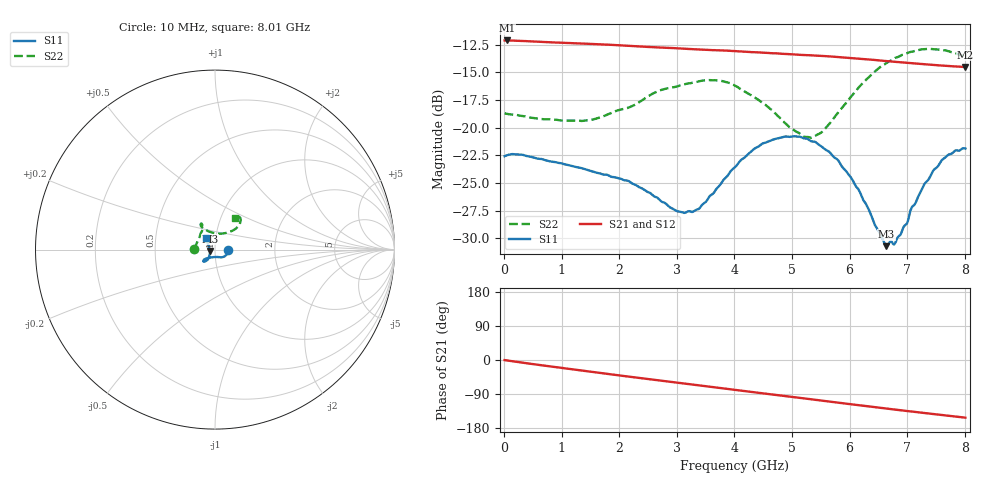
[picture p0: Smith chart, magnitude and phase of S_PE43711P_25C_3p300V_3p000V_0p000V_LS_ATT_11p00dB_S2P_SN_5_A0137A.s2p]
! Device ID: PE43711P
! File Path: z:\PE43711P\CHAR_NOM_04282014\AMB\3p300\LS_ATT_11p00dB\PE43711P_AMB_3p300V_3p000V_0p000V_LS_ATT_11p00dB_S2P_SN_5_A0137A.s2p
! Serial: 5
! Lot: A0137A
! Temp: 25C
! VDD: 3.300
! VSS: 0.000
! Control_Hi: 3.000
! Control_Lo: 0.000
! Attenuation Step: 11.00dB
! Port 1: RF1
! Port 2: RF2
! ThroughPath:1-2
! IDD: 0.0001279692
! ISS: -8.47e-008
#  Hz  S  RI  R  50
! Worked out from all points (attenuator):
!   801 points, 10 MHz to 8.01 GHz, reference 50 ohm
!   highest |S21| = -12.12 dB at 50 MHz (marker M1); lowest = -14.5 dB at 8.01 GHz (marker M2)
!   lowest |S11| = -30.7 dB at 6.64 GHz (marker M3), VSWR 1.06, Z = 47.3 - j0.756 ohm
!   |S11| at or under -10 dB: start of sweep to end of sweep
!   |S22| runs from -20.9 to -12.9 dB; largest |S21 - S12| = 0.0006
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1e7  0.0744 -8.52e-05  0.2476 -0.00124  0.2479 -0.00132  -0.1163 0.000897
5e7  0.0751 -0.00125  0.2476 -0.00497  0.2478 -0.00494  -0.1155 0.00291
1.35e9  0.0537 -0.0377  0.2122 -0.112  0.2124 -0.1121  -0.0938 0.052
2.15e9  0.0376 -0.0436  0.1698 -0.1616  0.1699 -0.1617  -0.076 0.0967
2.68e9  0.0233 -0.0418  0.1365 -0.1855  0.1365 -0.1856  -0.0708 0.1284
3.01e9  0.00932 -0.0409  0.1142 -0.1977  0.1143 -0.1977  -0.0709 0.1363
3.3e9  -0.00536 -0.0417  0.0939 -0.2056  0.094 -0.2057  -0.0732 0.1429
3.69e9  -0.0284 -0.0448  0.0664 -0.2135  0.0664 -0.2135  -0.0787 0.1434
4.01e9  -0.0455 -0.0483  0.0429 -0.2174  0.0428 -0.2176  -0.0792 0.133
4.34e9  -0.059 -0.0543  0.0189 -0.2184  0.0189 -0.2185  -0.0667 0.1202
4.69e9  -0.0643 -0.0611  -0.00618 -0.2166  -0.00631 -0.2166  -0.0475 0.1071
5.04e9  -0.0631 -0.0662  -0.0304 -0.2119  -0.0306 -0.2119  -0.0175 0.0957
5.35e9  -0.0568 -0.0654  -0.0512 -0.2057  -0.0513 -0.2059  0.0151 0.0889
5.65e9  -0.0474 -0.0615  -0.0708 -0.1976  -0.0708 -0.1976  0.0511 0.0908
6.01e9  -0.0361 -0.0482  -0.0922 -0.1848  -0.0925 -0.1848  0.0904 0.1024
6.64e9  -0.0281 -0.00799  -0.1236 -0.157  -0.1237 -0.1573  0.1361 0.1407
6.68e9  -0.0296 -0.00457  -0.1253 -0.1553  -0.1253 -0.1555  0.1373 0.1441
6.87e9  -0.0317 0.00795  -0.1329 -0.146  -0.1329 -0.1462  0.1421 0.1553
7.27e9  -0.0401 0.0357  -0.147 -0.1262  -0.147 -0.1262  0.1402 0.1773
7.46e9  -0.045 0.0461  -0.1528 -0.1163  -0.1528 -0.1164  0.1329 0.1832
7.7e9  -0.05 0.0558  -0.1591 -0.1039  -0.159 -0.1037  0.1222 0.1857
8.01e9  -0.0512 0.0621  -0.1662 -0.0877  -0.1665 -0.0872  0.1112 0.1759
